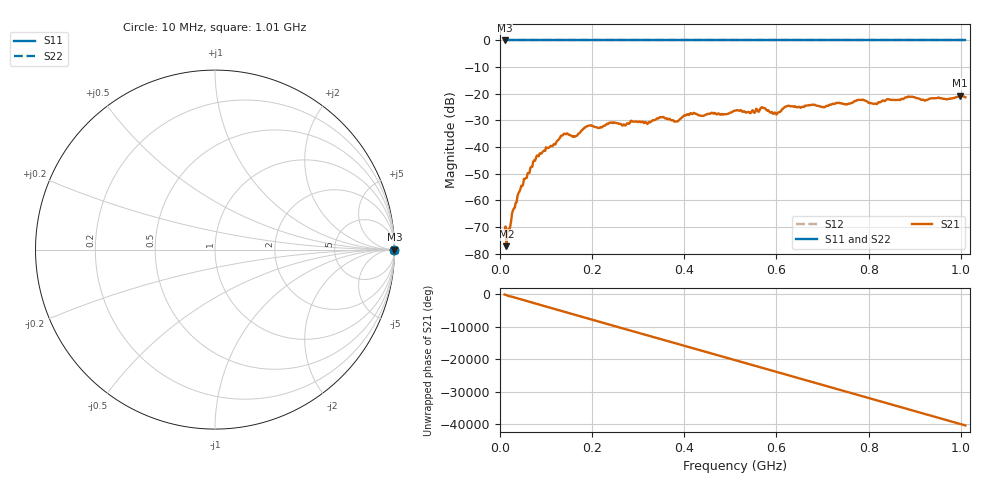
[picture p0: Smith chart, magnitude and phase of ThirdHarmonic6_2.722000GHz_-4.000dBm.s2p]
! 8/17/2025 6:38:27 AM
! C:\ANRITSUVNA\TEMP\TEMP.S2P
! CHANNEL.1
! TR.MEASUREMENT
! RAW.DATA
! RF.CORRECTION.OFF
! AVERAGING.OFF
! IF.BANDWIDTH: 5KHZ
! SWEEPTYPE:  FREQ.SWEEP(Linear)
! Reference Plane Port Info
! PORT:  PORT1  PORT2
! DISTANCE:  0  m  0  m
! TIME:  0  s  0  s
! PHASE.OFFSET:  0  deg.  0  deg.
! LOSS:  0  dB  0  dB
! REF.LOSS:  0  dB  0  dB
! REF.FREQ:  0  Hz  0  Hz
! Power Info
! POWER:  -20  dBm  -20  dBm
! EFF.POWER:  -20  dBm  -20  dBm
! SOURCE.ATTEN:  0  dB  0  dB
! TEST.ATTEN:  0  dB  0  dB
# GHZ S RI R 50.0
! FREQ.GHZ  S11RE  S11IM  S21RE  S21IM  S12RE  S12IM  S22RE  S22IM
!; PortSelection: Port_12
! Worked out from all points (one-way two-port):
!   501 points, 10 MHz to 1.01 GHz, reference 50 ohm
!   highest |S21| = -20.64 dB at 998 MHz (marker M1); lowest = -77.1 dB at 14 MHz (marker M2)
!   lowest |S11| = 0.0 dB at 10 MHz (marker M3)
!   |S11| at or under -10 dB: nowhere
!   |S22| runs from 0.0 to 0.0 dB; largest |S21 - S12| = 1.1
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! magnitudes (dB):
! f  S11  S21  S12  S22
! 10 MHz  0.0  -71.1  0.0  0.0
! 14 MHz  0.0  -77.1  0.0  0.0
! 18 MHz  0.0  -70.9  0.0  0.0
! 42 MHz  0.0  -56.8  0.0  0.0
! 76 MHz  0.0  -45.1  0.0  0.0
! 136 MHz  0.0  -35.6  0.0  0.0
! 162 MHz  0.0  -36.1  0.0  0.0
! 178 MHz  0.0  -33.6  0.0  0.0
! 194 MHz  0.0  -31.8  0.0  0.0
! 322 MHz  0.0  -30.8  0.0  0.0
! 344 MHz  0.0  -29.3  0.0  0.0
! 382 MHz  0.0  -30.4  0.0  0.0
! 416 MHz  0.0  -27.6  0.0  0.0
! 510 MHz  0.0  -26.3  0.0  0.0
! 570 MHz  0.0  -25.2  0.0  0.0
! 596 MHz  0.0  -27.0  0.0  0.0
! 622 MHz  0.0  -24.7  0.0  0.0
! 678 MHz  0.0  -24.2  0.0  0.0
! 814 MHz  0.0  -23.7  0.0  0.0
! 844 MHz  0.0  -22.1  0.0  0.0
! 998 MHz  0.0  -20.6  0.0  0.0
! 1.01 GHz  0.0  -21.3  0.0  0.0
